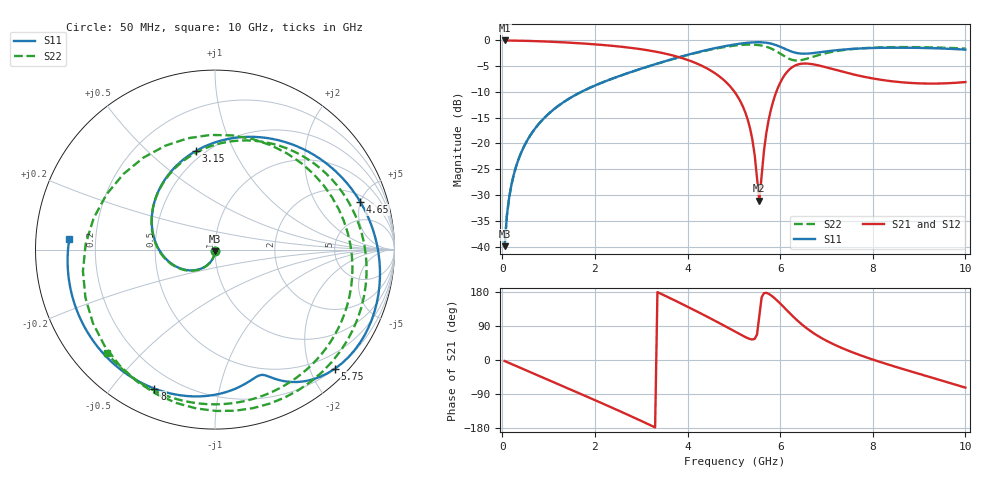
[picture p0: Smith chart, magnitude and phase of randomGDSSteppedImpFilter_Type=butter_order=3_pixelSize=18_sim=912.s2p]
! freq	dB(S11)	phase(S11)	dB(S12)	phase(S12)
!  dB(S21)	phase(S21)	dB(S22)	phase(S22)
!S-par simulation data
#  GHz  S  DB  R 50
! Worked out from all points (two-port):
!   200 points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, 50 MHz to 10 GHz, reference 50 ohm
!   highest |S21| = -0.01 dB at 50 MHz (marker M1); lowest = -31.1 dB at 5.55 GHz (marker M2)
!   |S21| within 3 dB of the highest: start of sweep to 3.719 GHz
!   lowest |S11| = -39.9 dB at 50 MHz (marker M3), VSWR 1.02, Z = 49.9 - j1.01 ohm
!   |S11| at or under -10 dB: start of sweep to 1.703 GHz
!   |S22| runs from -39.9 to -0.8 dB; largest |S21 - S12| = 0
!   S11 on the Smith chart (normalised r, x): 50 MHz: 1.00, -0.02; 3.15 GHz: 0.45, +0.72; 4.65 GHz: 2.55, +4.96; 5.75 GHz: 0.21, -2.41; 8 GHz: 0.12, -0.65; 10 GHz: 0.10, +0.03
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0.05  -39.92 -92.4  -0.01 -2.7  -0.01 -2.7  -39.92 -92.4
0.2  -27.90 -100.9  -0.02 -10.7  -0.02 -10.7  -27.90 -100.7
0.5  -20.03 -117.2  -0.08 -26.5  -0.08 -26.5  -20.03 -116.8
1.15  -13.10 -152.0  -0.29 -60.8  -0.29 -60.8  -13.09 -151.2
1.75  -9.79 176.1  -0.60 -92.5  -0.60 -92.5  -9.78 177.0
2.5  -7.00 136.2  -1.16 -132.9  -1.16 -132.9  -7.00 136.0
3.15  -5.04 101.1  -1.92 -169.2  -1.92 -169.2  -5.06 98.3
3.4  -4.35 87.4  -2.33 176.3  -2.33 176.3  -4.37 83.1
4.05  -2.67 51.5  -3.94 137.6  -3.94 137.6  -2.73 41.3
4.65  -1.39 18.2  -6.72 99.8  -6.72 99.8  -1.52 -1.5
5.05  -0.74 -4.1  -10.44 73.3  -10.44 73.3  -0.97 -34.6
5.35  -0.41 -21.2  -17.06 55.3  -17.06 55.3  -0.81 -64.8
5.55  -0.35 -32.9  -31.10 116.3  -31.10 116.3  -0.93 -89.6
5.75  -0.52 -44.7  -15.48 174.9  -15.48 174.9  -1.37 -120.5
6  -1.22 -58.1  -8.22 149.3  -8.22 149.3  -2.55 -170.8
6.3  -2.31 -67.2  -4.98 112.4  -4.98 112.4  -3.85 115.6
6.45  -2.55 -69.5  -4.53 95.8  -4.53 95.8  -3.83 81.4
6.7  -2.47 -73.9  -4.61 72.6  -4.61 72.6  -3.20 37.5
7.2  -1.91 -87.6  -5.72 38.8  -5.72 38.8  -2.09 -15.3
8  -1.47 -113.5  -7.38 1.2  -7.38 1.2  -1.41 -62.5
8.35  -1.41 -125.0  -7.86 -12.6  -7.86 -12.6  -1.32 -77.7
10  -1.79 176.0  -8.08 -72.9  -8.08 -72.9  -1.59 -136.4
